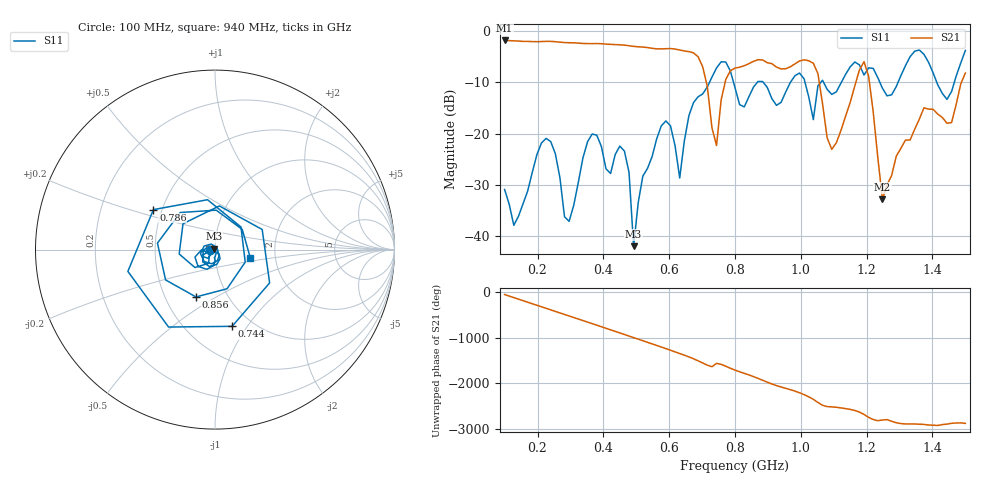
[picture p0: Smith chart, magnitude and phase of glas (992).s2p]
! NanoVNA-App
! Date: 2025-09-25 16:03:11
! Start: 100MHz Stop: 1,5GHz Points: 101
! S-Parameter data: F S11 S21 S12 S22
# Hz S RI R 50
!  Frequency  S11_Real  S11_Imag  S21_Real  S21_Imag  S12_Real  S12_Imag  S22_Real  S22_Imag
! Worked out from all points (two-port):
!   101 points, 100 MHz to 1.5 GHz, reference 50 ohm
!   highest |S21| = -1.80 dB at 100 MHz (marker M1); lowest = -32.8 dB at 1.248 GHz (marker M2)
!   |S21| within 3 dB of the highest: start of sweep to 684.5 MHz
!   lowest |S11| = -42.0 dB at 492 MHz (marker M3), VSWR 1.02, Z = 49.5 + j0.594 ohm
!   |S11| at or under -10 dB: start of sweep to 722.4 MHz; 795.6 MHz to 867.7 MHz (72.08 MHz wide, 8.67 % of centre); 886.2 MHz to 968.2 MHz (82.05 MHz wide, 8.85 % of centre) (the widest 3 of 7)
!   S12 and S22 are empty: the file has one direction only
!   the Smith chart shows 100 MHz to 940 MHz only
!   S11 on the Smith chart (normalised r, x): 100 MHz: 0.94, -0.01; 744 MHz: 0.81, -0.85; 786 MHz: 0.45, +0.24; 856 MHz: 0.71, -0.41; 940 MHz: 1.48, -0.14
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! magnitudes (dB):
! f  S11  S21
! 100 MHz  -30.9  -1.8
! 128 MHz  -37.9  -1.9
! 226 MHz  -20.9  -2.0
! 296 MHz  -37.1  -2.2
! 338 MHz  -24.7  -2.4
! 464 MHz  -23.4  -2.7
! 492 MHz  -42.0  -3.0
! 576 MHz  -18.5  -3.4
! 632 MHz  -28.7  -3.7
! 702 MHz  -12.2  -7.0
! 744 MHz  -7.2  -22.3
! 786 MHz  -7.8  -7.7
! 800 MHz  -11.0  -7.2
! 856 MHz  -10.9  -5.9
! 940 MHz  -13.9  -7.4
! 996 MHz  -8.2  -5.8
! 1.038 GHz  -17.3  -6.3
! 1.094 GHz  -12.3  -23.1
! 1.192 GHz  -8.6  -5.9
! 1.248 GHz  -11.1  -32.8
! 1.276 GHz  -12.4  -28.2
! 1.5 GHz  -3.7  -8.2
